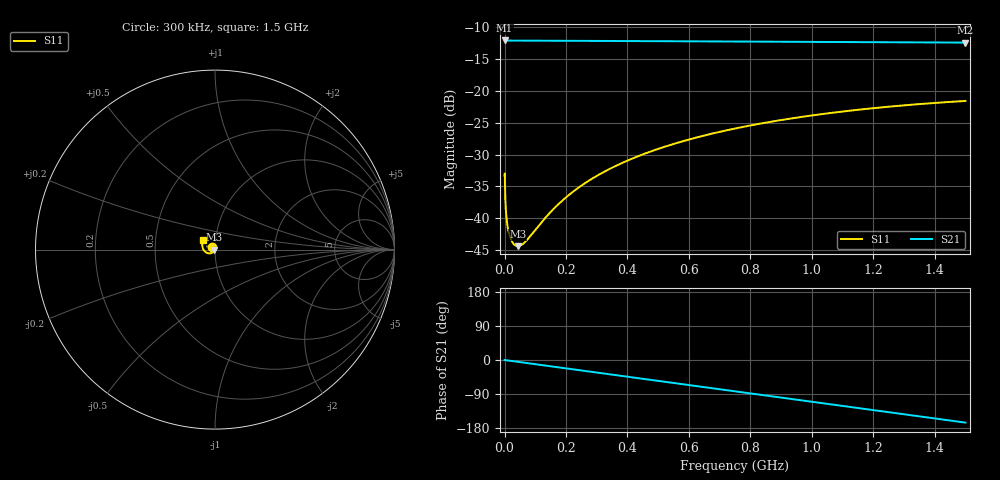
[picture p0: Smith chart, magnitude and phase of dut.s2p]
! TOUCHSTONE file generated by CST MICROWAVE STUDIO
! Date and time: Sun Oct 12 18:24:11 2025
! Project name: calkit_sim.cst
! Parameters = {Rgap=0.9; ceq=6.5e-14; cu_t=0.035; dut_x=83.3333; k=7.07; leq=1.1e-09; line_gap=0.9; line_w=2.5; match_x=66.6667; open_x=16.6667; pad_g=1; pad_x=1.45; pad_z=0.9; ref_1=23.3333; ref_2=16.6667; res_h=0.32; res_len=1; res_w=0.5; short_x=33.3333; sus_l=100; sus_t=1.6; sus_w=40; thru_x=50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
! Header version: 2015
! Port assignment regex: !\s*Touchstone port\s*([0-9]+)\s*=\s*CST MWS port\s*([0-9]+)\s*\(\"(.*)\"\)(\s*mode\s*([0-9]+))?.*
! Touchstone port assignment:
! Touchstone port 1 = CST MWS port 1 ("")
! Touchstone port 2 = CST MWS port 2 ("")
! S-Parameters are not renormalized. Unphysical impedance of 50 will be written to the file.
# GHz S DB R 50
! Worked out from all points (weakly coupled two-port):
!   5000 points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, 300 kHz to 1.5 GHz, reference per port
!   highest |S21| = -12.05 dB at 300 kHz (marker M1); lowest = -12.4 dB at 1.5 GHz (marker M2)
!   lowest |S11| = -44.4 dB at 42.9 MHz (marker M3), VSWR 1.01
!   |S11| at or under -10 dB: start of sweep to end of sweep
!   S12 and S22 are empty: the file has one direction only
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0.0003  -33.33 143.3  -12.05 0.0  -200.00 0.0  -200.00 0.0
0.0042  -38.62 149.1  -12.06 -0.5  -200.00 0.0  -200.00 0.0
0.0096  -41.19 155.3  -12.07 -1.1  -200.00 0.0  -200.00 0.0
0.012  -41.84 157.7  -12.07 -1.3  -200.00 0.0  -200.00 0.0
0.015  -42.48 160.7  -12.07 -1.7  -200.00 0.0  -200.00 0.0
0.0204  -43.29 165.9  -12.07 -2.3  -200.00 0.0  -200.00 0.0
0.027  -43.91 172.1  -12.07 -3.0  -200.00 0.0  -200.00 0.0
0.0345  -44.29 179.0  -12.07 -3.8  -200.00 0.0  -200.00 0.0
0.0429  -44.42 -173.8  -12.07 -4.8  -200.00 0.0  -200.00 0.0
0.0549  -44.24 -164.5  -12.08 -6.1  -200.00 0.0  -200.00 0.0
0.0696  -43.63 -155.1  -12.08 -7.7  -200.00 0.0  -200.00 0.0
0.1344  -39.88 -135.0  -12.09 -14.9  -200.00 0.0  -200.00 0.0
0.1752  -37.83 -131.3  -12.10 -19.4  -200.00 0.0  -200.00 0.0
0.2505  -34.89 -130.5  -12.11 -27.7  -200.00 0.0  -200.00 0.0
0.3033  -33.28 -132.0  -12.12 -33.5  -200.00 0.0  -200.00 0.0
0.3624  -31.78 -134.8  -12.13 -40.0  -200.00 0.0  -200.00 0.0
0.5004  -29.11 -143.0  -12.16 -55.2  -200.00 0.0  -200.00 0.0
0.6174  -27.42 -151.1  -12.19 -68.1  -200.00 0.0  -200.00 0.0
0.7503  -25.91 -160.7  -12.22 -82.8  -200.00 0.0  -200.00 0.0
1.0002  -23.85 -179.5  -12.27 -110.3  -200.00 0.0  -200.00 0.0
1.2501  -22.47 161.2  -12.33 -137.7  -200.00 0.0  -200.00 0.0
1.5  -21.57 141.5  -12.38 -165.2  -200.00 0.0  -200.00 0.0
